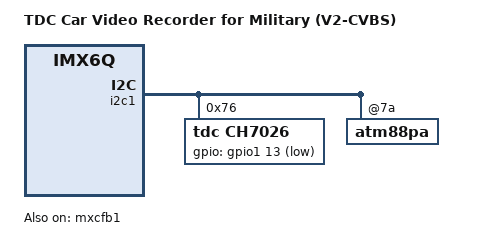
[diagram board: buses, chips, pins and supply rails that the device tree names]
/*
 * Technology Development Co.,Ltd
 * http://www.nedi.com.cn
 * Varphone Wong <varphone@qq.com>
 */

/dts-v1/;
#include "imx6q.dtsi"
#include "myimx6ek200-cm.dtsi"

/ {
	model = "TDC Car Video Recorder for Military (V2-CVBS)";
	compatible = "tdc,cvr-mil-v2", "myzr,myimx6", "myzr,myimx6q", "myzr,myimx6cb200", "myzr,myimx6ek200", "fsl,imx6q", "fsl,imx6q-ldb";

	reserved-memory {
		#address-cells = <1>;
		#size-cells = <1>;
		ranges;

		/* global autoconfigured region for contiguous allocations */
		linux,cma {
			compatible = "shared-dma-pool";
			reusable;
			size = <0x1E000000>;
			linux,cma-default;
		};
	};
};

&i2c1 {
	ch7026@76 {
                compatible = "tdc,ch7026";
                reg = <0x76>;
		gpios = <&gpio1 13 1>;
        };

	atm88pa@7a {
		power {
			/* poweroff GPIO5_IO20, ACTIVE_LOW */
			gpios = <&gpio5 20 1>;
		};
	};
};

&ldb {
	status = "disabled";
};

&can1 {
	status = "disabled";
};

&can2 {
	status = "disabled";
};

&fec {
	status = "disabled";
};

&hdmi_audio {
	status = "disabled";
};

&hdmi_cec {
	status = "disabled";
};

&hdmi_core {
	status = "disabled";
};

&hdmi_video {
	status = "disabled";
};

&i2c2 {
	status = "disabled";
};

&i2c3 {
	status = "disabled";
};

&mxcfb1 {
	status = "okay";
};

&mxcfb2 {
	status = "disabled";
};

&mxcfb3 {
	status = "disabled";
};

&mxcfb4 {
	status = "disabled";
};

&pcie {
	status = "disabled";
};

&pwm1 {
	status = "disabled";
};

&sata {
	status = "disabled";
};

&snvs {
	status = "disabled";
};
